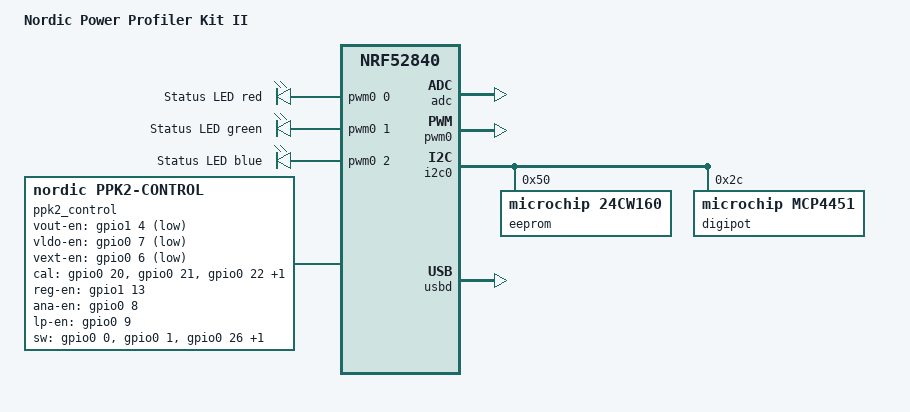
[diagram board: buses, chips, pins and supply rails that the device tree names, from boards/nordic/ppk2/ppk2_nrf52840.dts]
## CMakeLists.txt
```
# SPDX-License-Identifier: Apache-2.0

cmake_minimum_required(VERSION 3.20.0)

# The ppk2 board definition lives in this tree, not in Zephyr's.
list(APPEND BOARD_ROOT ${CMAKE_CURRENT_SOURCE_DIR})

find_package(Zephyr REQUIRED HINTS $ENV{ZEPHYR_BASE})
project(ppk2_firmware)

target_sources(app PRIVATE
	src/main.c
	src/board_io.c
	src/digipot.c
	src/metadata.c
	src/sampling.c
	src/power.c
	src/usb_ppk.c
	src/dfu.c
	src/protocol.c
	src/leds.c
	src/shell_cmds.c
)
```

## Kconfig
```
# SPDX-License-Identifier: Apache-2.0

mainmenu "Power Profiler Kit II firmware"

menu "PPK2"

config PPK2_USB_VID
	hex "USB vendor ID"
	default 0x1915
	help
	  The desktop Power Profiler app only lists devices carrying Nordic's
	  vendor ID (nrf-device-lib's "nordicUsb" trait).

config PPK2_USB_PID
	hex "USB product ID"
	default 0xC00A
	help
	  The desktop app recognises a PPK2 by idProduct == 0xC00A.

config PPK2_USB_MANUFACTURER
	string "USB manufacturer string"
	default "Nordic Semiconductor"

config PPK2_USB_PRODUCT
	string "USB product string"
	default "PPK2"

config PPK2_DFU_SEMVER
	string "Version string served on the DFU trigger interface"
	default "power_profiler_kit_2 1.2.4-community"
	help
	  nrf-device-lib reads this string to decide whether the desktop app
	  should offer to reprogram the kit. The default matches the firmware
	  release the app bundles, so the app leaves this firmware alone.

config PPK2_FW_VERSION_MAJOR
	int "Firmware major version reported in DFU info"
	default 1

config PPK2_FW_VERSION_MINOR
	int "Firmware minor version reported in DFU info"
	default 2

config PPK2_DEFAULT_VDD_MV
	int "Source-mode output voltage used when the EEPROM holds none (mV)"
	range 800 5000
	default 3000

config PPK2_DISCARD_SWITCH_SAMPLES
	bool "Drop samples taken while the range switches are in transition"
	default y
	help
	  The analog front end reports an inconsistent switch pattern for a few
	  microseconds while it changes range. Such samples carry no usable
	  current reading; dropping them keeps the sample counter contiguous so
	  the desktop app never sees them.

config PPK2_SAMPLE_RING_SAMPLES
	int "Sample ring buffer depth (samples, power of two)"
	default 4096
	help
	  Eight 512-sample blocks by default: enough to ride out USB scheduling
	  jitter without dropping data. 16 KiB of RAM.

config PPK2_USB_TX_INFLIGHT
	int "Sample blocks queued to the USB controller at once"
	range 1 8
	default 4

config PPK2_STREAM_KEEPS_CPU_AWAKE
	bool "Skip WFI in the idle thread while the current stream runs"
	default y
	select ARM_ON_ENTER_CPU_IDLE_HOOK
	help
	  Waking the CPU from WFI takes about 12.5 us on this kit, longer than
	  the 10 us sample period, so an idle CPU services only every other
	  conversion. With this enabled the idle thread spins instead of
	  sleeping while sampling is active. The kit is USB powered and its own
	  consumption is not what it measures, so nothing is lost.

endmenu

source "Kconfig.zephyr"
```

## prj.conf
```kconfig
# Power Profiler Kit II firmware.
#
# The board supplies the LFCLK source, the bootloader-aware flash offset and
# the USB stack selection; this file asks for what the application uses.

CONFIG_LOG=y
CONFIG_LOG_DEFAULT_LEVEL=3

# Cortex-M4F: calibration maths and voltage conversion are floating point.
CONFIG_FPU=y

# The SAADC END handler runs as a zero-latency interrupt: it has 10 us to
# collect each result and must not wait behind irq_lock() sections in the USB
# driver. It makes no kernel calls; a TIMER3 compare interrupt signals blocks.
CONFIG_ZERO_LATENCY_IRQS=y

CONFIG_GPIO=y
CONFIG_I2C=y
CONFIG_EEPROM=y
CONFIG_PWM=y
CONFIG_LED=y
CONFIG_LED_PWM=y
CONFIG_HWINFO=y
CONFIG_REBOOT=y
CONFIG_CRC=y

# The metadata reply and the shell print floats with printf-style formatting.
CONFIG_PICOLIBC_IO_FLOAT=y
CONFIG_CBPRINTF_FP_SUPPORT=y

# USB: this application builds its own composite device (data port, shell
# port, DFU trigger), so the board's boot-time CDC ACM convenience must stay
# out of the way.
CONFIG_USB_DEVICE_STACK_NEXT=y
CONFIG_USBD_CDC_ACM_CLASS=y
CONFIG_CDC_ACM_SERIAL_INITIALIZE_AT_BOOT=n
# Sample blocks are 2 KiB bulk transfers; several are in flight at once.
CONFIG_UDC_BUF_POOL_SIZE=16384
CONFIG_UDC_BUF_COUNT=32

CONFIG_SERIAL=y
CONFIG_CONSOLE=y
CONFIG_UART_CONSOLE=y
CONFIG_UART_LINE_CTRL=y
CONFIG_SHELL=y
CONFIG_SHELL_BACKEND_SERIAL=y
CONFIG_SHELL_BACKEND_SERIAL_CHECK_DTR=y
CONFIG_SHELL_PROMPT_UART="ppk2:~$ "

CONFIG_MAIN_STACK_SIZE=4096
CONFIG_SYSTEM_WORKQUEUE_STACK_SIZE=2048
CONFIG_HEAP_MEM_POOL_SIZE=8192
```

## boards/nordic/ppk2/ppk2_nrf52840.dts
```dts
/*
 * Nordic Power Profiler Kit II (PCA63100 rev 1.0.1).
 *
 * Every connection below is taken from the Altium netlist export in ref/
 * (netlist.NET), which lists each net as explicit component pads.
 *
 * SPDX-License-Identifier: Apache-2.0
 */

/dts-v1/;
#include <nordic/nrf52840_qiaa.dtsi>
#include <nordic/nrf52840_partition.dtsi>
#include "ppk2_nrf52840-pinctrl.dtsi"

/ {
	model = "Nordic Power Profiler Kit II";
	compatible = "nordic,ppk2";

	chosen {
		zephyr,sram = &sram0;
		zephyr,flash = &flash0;
	};

	pwmleds: pwmleds {
		compatible = "pwm-leds";

		/* LD3 and LD4 are common-anode to P3V3 and sit in parallel on
		 * the same three nets, so each channel drives both LEDs.
		 *
		 * Normal polarity despite the common anode: the pin does not
		 * reach the LED directly but gates an N-channel MOSFET (Q1/Q15,
		 * DMN2050LFDB) whose source is grounded and which sinks the
		 * cathode side, so a high level turns the LED on. R99-R101 pull
		 * the gates down, keeping the LEDs dark while the pins float
		 * during reset.
		 */
		led_red: pwm_led_0 {
			pwms = <&pwm0 0 PWM_MSEC(4) PWM_POLARITY_NORMAL>;
			label = "Status LED red";
		};

		led_green: pwm_led_1 {
			pwms = <&pwm0 1 PWM_MSEC(4) PWM_POLARITY_NORMAL>;
			label = "Status LED green";
		};

		led_blue: pwm_led_2 {
			pwms = <&pwm0 2 PWM_MSEC(4) PWM_POLARITY_NORMAL>;
			label = "Status LED blue";
		};
	};

	ppk2_control: ppk2-control {
		compatible = "nordic,ppk2-control";

		/* The three power switches (Q2, Q14, Q16) are N-channel high-side
		 * pairs whose gates R37/R104/R105 pull up to the +8 V rail: they
		 * conduct when left alone. The MCU pin drives Q1/Q17, which pull
		 * that gate to ground and open the switch. So the pin is active
		 * LOW for "connected", and the 1 MOhm pull-ups to 3V3 (R39, R106,
		 * R107) keep everything disconnected through reset. Confirmed on
		 * hardware: with this pin driven high, VDUT+ read 26 mV while the
		 * LDO behind it sat at 2.8 V.
		 */
		vout-en-gpios = <&gpio1 4 GPIO_ACTIVE_LOW>;
		vldo-en-gpios = <&gpio0 7 GPIO_ACTIVE_LOW>;
		vext-en-gpios = <&gpio0 6 GPIO_ACTIVE_LOW>;

		/* The calibration loads are a single N-channel stage (Q4, Q11)
		 * straight across the terminals, pulled down by 1 MOhm: active
		 * high, off at reset.
		 */
		cal-gpios = <&gpio0 20 GPIO_ACTIVE_HIGH>,	/* 100 kOhm, R40 */
			    <&gpio0 21 GPIO_ACTIVE_HIGH>,	/*  10 kOhm, R58 */
			    <&gpio0 22 GPIO_ACTIVE_HIGH>,	/*   1 kOhm, R33 */
			    <&gpio0 23 GPIO_ACTIVE_HIGH>;	/* 100  Ohm, R38 */

		/* Regulator and analog-supply enables go straight to the ICs. */
		reg-en-gpios = <&gpio1 13 GPIO_ACTIVE_HIGH>;
		ana-en-gpios = <&gpio0 8 GPIO_ACTIVE_HIGH>;
		lp-en-gpios = <&gpio0 9 GPIO_ACTIVE_HIGH>;

		/* SW1..SW4 are pulled up by R43/R47/R51/R55 and pulled low by
		 * Q6/Q8 while a shunt is in circuit, so a high level means that
		 * shunt is bypassed. The MCU can only observe them.
		 */
		sw-gpios = <&gpio0 0 GPIO_ACTIVE_HIGH>,
			   <&gpio0 1 GPIO_ACTIVE_HIGH>,
			   <&gpio0 26 GPIO_ACTIVE_HIGH>,
			   <&gpio0 27 GPIO_ACTIVE_HIGH>;

		lp-data-gpios = <&gpio0 10 GPIO_ACTIVE_HIGH>,
				<&gpio0 11 GPIO_ACTIVE_HIGH>,
				<&gpio0 12 GPIO_ACTIVE_HIGH>,
				<&gpio0 13 GPIO_ACTIVE_HIGH>,
				<&gpio0 14 GPIO_ACTIVE_HIGH>,
				<&gpio0 15 GPIO_ACTIVE_HIGH>,
				<&gpio0 16 GPIO_ACTIVE_HIGH>,
				<&gpio0 17 GPIO_ACTIVE_HIGH>;

		ext-usb-gpios = <&gpio1 9 GPIO_ACTIVE_HIGH>;
	};

	aliases {
		led0 = &led_red;
		led1 = &led_green;
		led2 = &led_blue;
		eeprom-0 = &eeprom;
		watchdog0 = &wdt0;
	};
};

&uicr {
	/* P0.09 and P0.10 carry LP_EN and LP_D0 of the logic-port header, so
	 * the NFCT pins have to come up as plain GPIOs.
	 */
	nfct-pins-as-gpios;
	gpio-as-nreset;
};

&gpiote {
	status = "okay";
};

&gpio0 {
	status = "okay";
	/* P0.18 is nRESET and P0.19 sits on the same RESET net, which is how
	 * firmware reboots the kit into the bootloader. Neither is free.
	 */
	gpio-reserved-ranges = <18 2>;
	gpio-line-names =
		"SW1_ONOFF", "SW2_ONOFF", "VREF_IA/AIN0", "VLDO/AIN1",
		"VBB/AIN2", "VIN/AIN3", "VEXT_EN", "VLDO_EN",
		"ANA_EN", "LP_EN", "LP_D0", "LP_D1",
		"LP_D2", "LP_D3", "LP_D4", "LP_D5",
		"LP_D6", "LP_D7", "RESET", "RESET_TRIGGER",
		"CAL100K", "CAL10K", "CAL1K", "CAL100",
		"SDA", "SCL", "SW3_ONOFF", "SW4_ONOFF",
		"VDUT/AIN4", "AGND/AIN5", "NTC/AIN6", "VSE_IA/AIN7";
};

&gpio1 {
	status = "okay";
	gpio-line-names =
		"SWO", "", "", "",
		"VOUT_EN", "LEDR", "LEDG", "LEDB",
		"", "EXT_USB", "", "",
		"", "REG_EN", "", "";
};

/* The eight measurement inputs all land on SAADC: AIN0 VREF_IA, AIN1 VLDO,
 * AIN2 VBB, AIN3 VIN, AIN4 VDUT, AIN5 AGND, AIN6 NTC, AIN7 VSE_IA. The
 * application drives the SAADC directly for the 100 kHz stream, so no Zephyr
 * ADC driver instance is bound to this node.
 */
&adc {
	status = "okay";
};

&pwm0 {
	status = "okay";
	pinctrl-0 = <&pwm0_default>;
	pinctrl-1 = <&pwm0_sleep>;
	pinctrl-names = "default", "sleep";
};

&i2c0 {
	compatible = "nordic,nrf-twim";
	status = "okay";
	pinctrl-0 = <&i2c0_default>;
	pinctrl-1 = <&i2c0_sleep>;
	pinctrl-names = "default", "sleep";

	/* U7, a 24CW160: 16 kbit, and where the kit keeps its calibration
	 * data. Its write-protect pin is strapped low through R83.
	 */
	eeprom: eeprom@50 {
		compatible = "microchip,24cw160", "atmel,at24";
		reg = <0x50>;
		size = <2048>;
		pagesize = <32>;
		address-width = <16>;
		timeout = <5>;
	};

	/* U10, MCP4451 100 kOhm. Wiper 0 sets the buck-boost feedback,
	 * wiper 1 the LDO feedback, wiper 3 the instrumentation-amplifier
	 * offset; wiper 2 only reaches a test point.
	 */
	digipot: mcp4451@2c {
		compatible = "microchip,mcp4451";
		reg = <0x2c>;
	};
};

zephyr_udc0: &usbd {
	compatible = "nordic,nrf-usbd";
	status = "okay";
};

/* Routes console, shell and logging onto a USB CDC ACM instance. Must come
 * after the zephyr_udc0 label above, which it attaches the CDC ACM node to.
 * The application registers this instance as the second serial port; the
 * first carries the PPK2 protocol.
 */
#include <../boards/common/usb/cdc_acm_serial.dtsi>
```

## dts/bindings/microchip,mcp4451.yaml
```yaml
# SPDX-License-Identifier: Apache-2.0

description: |
  Microchip MCP4451 quad 8-bit (257 tap) volatile digital potentiometer with
  an I2C interface. Wipers are written with a two-byte command:
  (memory address << 4) | D8, then D7..D0.

compatible: "microchip,mcp4451"

include: i2c-device.yaml
```

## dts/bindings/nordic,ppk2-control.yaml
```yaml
# SPDX-License-Identifier: Apache-2.0

description: |
  Control and status lines between the nRF52840 and the Power Profiler
  Kit II analog front end, supplies and logic-port level translator.

compatible: "nordic,ppk2-control"

include: base.yaml

properties:
  vout-en-gpios:
    type: phandle-array
    required: true
    description: Connects VDUT- to the VOUT terminal (DUT power on).

  vldo-en-gpios:
    type: phandle-array
    required: true
    description: Connects the ADP1708 LDO output to VDUT+ (source-meter mode).

  vext-en-gpios:
    type: phandle-array
    required: true
    description: Connects the VIN terminal to VDUT+ (ampere-meter mode).

  reg-en-gpios:
    type: phandle-array
    required: true
    description: Enables the ADP2504 buck-boost and ADP1708 LDO.

  ana-en-gpios:
    type: phandle-array
    required: true
    description: Enables the ADP5072 +7 V / -2 V analog supply.

  lp-en-gpios:
    type: phandle-array
    required: true
    description: Output enable of the FXMA108 logic-port level translator.

  cal-gpios:
    type: phandle-array
    required: true
    description: |
      Calibration loads switched across VDUT+/VDUT-, in the order
      100 kOhm, 10 kOhm, 1 kOhm, 100 Ohm.

  sw-gpios:
    type: phandle-array
    required: true
    description: |
      Range-switch status inputs SW1..SW4. The comparators on the current
      measurement sheet drive these; a high level means that shunt is
      bypassed. All four must sit on GPIO port 0.

  lp-data-gpios:
    type: phandle-array
    required: true
    description: Logic-port inputs D0..D7, contiguous on GPIO port 0.

  ext-usb-gpios:
    type: phandle-array
    required: true
    description: Divided-down VBUS of the auxiliary USB connector J1.
```

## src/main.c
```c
/*
 * Firmware for the Nordic Power Profiler Kit II (PCA63100).
 *
 * SPDX-License-Identifier: Apache-2.0
 */

#include <zephyr/kernel.h>
#include <zephyr/logging/log.h>

#include "board_io.h"
#include "leds.h"
#include "metadata.h"
#include "power.h"
#include "protocol.h"
#include "sampling.h"
#include "usb_ppk.h"

LOG_MODULE_REGISTER(ppk2, CONFIG_LOG_DEFAULT_LEVEL);

int main(void)
{
	int ret;

	LOG_INF("Power Profiler Kit II on %s", CONFIG_BOARD_TARGET);

	/* Order matters: the supply path must be safe before anything that
	 * could power the terminals, and the SAADC must be ready before the
	 * regulators are tuned.
	 */
	ret = board_io_init();
	if (ret < 0) {
		LOG_ERR("board_io_init: %d", ret);
		return 0;
	}

	metadata_init();
	sampling_init();

	ret = power_init();
	if (ret < 0) {
		LOG_WRN("power_init: %d", ret);
	}

	protocol_init();

	ret = usb_ppk_init();
	if (ret < 0) {
		LOG_ERR("usb_ppk_init: %d", ret);
	}

	leds_init();

	LOG_INF("ready: %s mode, %u mV, %s",
		power_mode() == 2 ? "source" : "ampere", power_vdd(),
		metadata_is_calibrated() ? "calibrated" : "uncalibrated");

	return 0;
}
```

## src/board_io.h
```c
/*
 * Control and status lines of the PPK2 front end.
 *
 * SPDX-License-Identifier: Apache-2.0
 */

#ifndef BOARD_IO_H_
#define BOARD_IO_H_

#include <stdbool.h>
#include <stdint.h>

enum board_ctrl {
	BOARD_CTRL_VOUT_EN,
	BOARD_CTRL_VLDO_EN,
	BOARD_CTRL_VEXT_EN,
	BOARD_CTRL_REG_EN,
	BOARD_CTRL_ANA_EN,
	BOARD_CTRL_LP_EN,
	BOARD_CTRL_COUNT,
};

enum board_cal_load {
	BOARD_CAL_OFF = -1,
	BOARD_CAL_100K = 0,
	BOARD_CAL_10K,
	BOARD_CAL_1K,
	BOARD_CAL_100,
	BOARD_CAL_COUNT,
};

/* Bit positions in GPIO port 0 used by the sampling interrupt. */
#define BOARD_P0_SW_MASK	(BIT(0) | BIT(1) | BIT(26) | BIT(27))
#define BOARD_P0_LOGIC_SHIFT	10U
#define BOARD_P1_EXT_USB_PIN	9U

int board_io_init(void);

int board_io_set(enum board_ctrl line, bool on);
bool board_io_get(enum board_ctrl line);

/* Switches one calibration load across VDUT+/VDUT-, or none. */
int board_io_set_cal_load(enum board_cal_load load);

/* Current range as the front end reports it: 0..4, or PPK2_RANGE_SWITCHING. */
uint8_t board_io_read_range(void);

/* Decodes the four SW status bits (SW1 in bit 0) into a range. */
uint8_t board_io_decode_range(uint32_t sw_bits);

bool board_io_ext_usb_present(void);

#endif /* BOARD_IO_H_ */
```

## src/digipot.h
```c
/*
 * MCP4451 quad digital potentiometer (U10).
 *
 * SPDX-License-Identifier: Apache-2.0
 */

#ifndef DIGIPOT_H_
#define DIGIPOT_H_

#include <stdint.h>

/* Wiper assignments follow the POT0..POT3 nets on the schematic. */
enum digipot_wiper {
	DIGIPOT_VBB = 0,	/* W0: ADP2504 buck-boost feedback, via R112 */
	DIGIPOT_VLDO = 1,	/* W1: ADP1708 LDO feedback, via R14 */
	DIGIPOT_UNUSED = 2,	/* W2: test point only */
	DIGIPOT_IA_OFFSET = 3,	/* W3: instrumentation amplifier offset */
};

#define DIGIPOT_CODE_MAX 256U

int digipot_init(void);
int digipot_set(enum digipot_wiper wiper, uint16_t code);
uint16_t digipot_get(enum digipot_wiper wiper);

#endif /* DIGIPOT_H_ */
```

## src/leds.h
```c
/*
 * Status LED patterns.
 *
 * SPDX-License-Identifier: Apache-2.0
 */

#ifndef LEDS_H_
#define LEDS_H_

int leds_init(void);

#endif /* LEDS_H_ */
```

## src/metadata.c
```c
/*
 * Calibration metadata stored in the on-board EEPROM (U7).
 *
 * The EEPROM is the one copy of this unit's factory calibration, so writes
 * are field-wise, to offsets confirmed against the stock layout, and only
 * for values this firmware actually changes. Everything else in the stock
 * image is read and left alone.
 *
 * SPDX-License-Identifier: Apache-2.0
 */

#include <ctype.h>
#include <math.h>
#include <stdio.h>
#include <stdlib.h>
#include <string.h>

#include <zephyr/kernel.h>
#include <zephyr/device.h>
#include <zephyr/drivers/eeprom.h>
#include <zephyr/sys/byteorder.h>
#include <zephyr/sys/crc.h>
#include <zephyr/logging/log.h>

#include <nrfx.h>

#include "metadata.h"

LOG_MODULE_REGISTER(metadata, CONFIG_LOG_DEFAULT_LEVEL);

/*
 * Our own backup lives clear of both stock regions: its primary image ends at
 * 0x100 and its backup copy (with a trailing CRC) occupies 0x600..0x702.
 */
#define BACKUP_OFFSET		0x200
#define BACKUP_MAGIC		0x324B5050	/* "PPK2" */
#define SAVE_DEBOUNCE		K_SECONDS(2)

#define IA_DEFAULT		128
#define IA_MAX			256

/*
 * Stock masks the range-0 gain terms when it reports them, whatever the
 * EEPROM holds (a real unit stored GS0 = -1138.7, GI0 = 1.03 and reported
 * 1e-19 and 1.0). The epsilon rather than zero matters: the desktop app
 * substitutes its own default of 1.0 for any value that parses as zero.
 */
#define REPORTED_GS0		1e-19f
#define REPORTED_GI0		1.0f

struct backup_image {
	uint32_t magic;
	struct ppk2_metadata meta;
	uint32_t crc;
} __packed;

static const struct device *const eeprom = DEVICE_DT_GET(DT_ALIAS(eeprom_0));

static struct ppk2_metadata meta;
/* What the EEPROM holds for the fields we own, so saves touch only changes. */
static struct ppk2_metadata stored;
static bool calibrated;
static bool ia_unknown;
static K_MUTEX_DEFINE(lock);

/*
 * Mirrors the desktop app's own fallbacks, which it substitutes for any key
 * that parses as zero. Sending anything else for an uncalibrated kit would
 * therefore be overridden anyway.
 */
static const struct ppk2_metadata defaults = {
	.r = { 1031.64f, 101.65f, 10.15f, 0.94f, 0.043f },
	.gs = { 1.0f, 1.0f, 1.0f, 1.0f, 1.0f },
	.gi = { 1.0f, 1.0f, 1.0f, 1.0f, 1.0f },
	.ug = { 1.0f, 1.0f, 1.0f, 1.0f, 1.0f },
	.vdd = CONFIG_PPK2_DEFAULT_VDD_MV,
	.mode = PPK2_MODE_AMPERE,
	.calibrated = 0,
	.ia = IA_DEFAULT,
};

static uint16_t derived_hw(void)
{
	/* Stock reports the low 16 bits of DEVICEID[0] as a decimal integer;
	 * a real unit confirmed the field and its width.
	 */
	return (uint16_t)(NRF_FICR->DEVICEID[0] & 0xFFFFU);
}

static bool all_finite(const float *v, size_t n)
{
	for (size_t k = 0; k < n; k++) {
		if (!isfinite(v[k])) {
			return false;
		}
	}

	return true;
}

static bool resistances_plausible(const float *r)
{
	for (size_t k = 0; k < PPK2_RANGE_COUNT; k++) {
		if (!isfinite(r[k]) || r[k] <= 0.001f || r[k] > 100000.0f) {
			return false;
		}
	}

	return true;
}

static void decode_image(const uint8_t *img, struct ppk2_metadata *m)
{
	memcpy(m->r, &img[EEPROM_OFF_R], sizeof(m->r));
	memcpy(m->gs, &img[EEPROM_OFF_GS], sizeof(m->gs));
	memcpy(m->o, &img[EEPROM_OFF_O], sizeof(m->o));
	memcpy(m->s, &img[EEPROM_OFF_S], sizeof(m->s));
	memcpy(m->i, &img[EEPROM_OFF_I], sizeof(m->i));
	memcpy(m->gi, &img[EEPROM_OFF_GI], sizeof(m->gi));
	memcpy(m->ug, &img[EEPROM_OFF_UG], sizeof(m->ug));
	m->vdd = sys_get_le16(&img[EEPROM_OFF_VDD]);
	m->mode = img[EEPROM_OFF_MODE];
	m->calibrated = img[EEPROM_OFF_CALIBRATED];
	m->ia = sys_get_le16(&img[EEPROM_OFF_IA]);
	m->hw = derived_hw();
}

static void sanitize(struct ppk2_metadata *m)
{
	if (!all_finite(m->gs, PPK2_RANGE_COUNT)) {
		memcpy(m->gs, defaults.gs, sizeof(m->gs));
	}
	if (!all_finite(m->gi, PPK2_RANGE_COUNT)) {
		memcpy(m->gi, defaults.gi, sizeof(m->gi));
	}
	if (!all_finite(m->o, PPK2_RANGE_COUNT)) {
		memset(m->o, 0, sizeof(m->o));
	}
	if (!all_finite(m->s, PPK2_RANGE_COUNT)) {
		memset(m->s, 0, sizeof(m->s));
	}
	if (!all_finite(m->i, PPK2_RANGE_COUNT)) {
		memset(m->i, 0, sizeof(m->i));
	}
	if (!all_finite(m->ug, PPK2_RANGE_COUNT)) {
		memcpy(m->ug, defaults.ug, sizeof(m->ug));
	}
	for (size_t k = 0; k < PPK2_RANGE_COUNT; k++) {
		if (m->ug[k] <= 0.0f || m->ug[k] > 10.0f) {
			m->ug[k] = 1.0f;
		}
	}

	if (m->vdd < 800 || m->vdd > 5000) {
		m->vdd = CONFIG_PPK2_DEFAULT_VDD_MV;
	}
	if (m->mode != PPK2_MODE_AMPERE && m->mode != PPK2_MODE_SOURCE) {
		m->mode = PPK2_MODE_AMPERE;
	}
	if (m->calibrated > 1) {
		m->calibrated = 0;
	}

	/* Fresh EEPROM reads 0xFFFF here, and the one real unit seen so far
	 * held a value far beyond the wiper's range in its stock backup.
	 */
	ia_unknown = m->ia > IA_MAX;
	if (ia_unknown) {
		LOG_WRN("no usable IA wiper value in EEPROM (%u), will trim", m->ia);
		m->ia = IA_DEFAULT;
	}
}

void metadata_load_defaults(void)
{
	k_mutex_lock(&lock, K_FOREVER);
	meta = defaults;
	meta.hw = derived_hw();
	calibrated = false;
	ia_unknown = true;
	k_mutex_unlock(&lock);
}

int metadata_init(void)
{
	uint8_t img[EEPROM_STOCK_IMAGE_SIZE];
	int ret;

	if (!device_is_ready(eeprom)) {
		LOG_ERR("EEPROM not ready");
		metadata_load_defaults();
		return -ENODEV;
	}

	ret = eeprom_read(eeprom, 0, img, sizeof(img));
	if (ret < 0) {
		LOG_ERR("EEPROM read failed: %d", ret);
		metadata_load_defaults();
		return ret;
	}

	k_mutex_lock(&lock, K_FOREVER);
	decode_image(img, &meta);
	stored = meta;

	if (resistances_plausible(meta.r)) {
		calibrated = true;
		sanitize(&meta);
		LOG_INF("calibration loaded: R0=%.2f R4=%.4f vdd=%u mode=%u ia=%u flag=%u",
			(double)meta.r[0], (double)meta.r[4], meta.vdd, meta.mode, meta.ia,
			meta.calibrated);
	} else {
		LOG_WRN("EEPROM holds no usable calibration, using defaults");
		meta = defaults;
		meta.hw = derived_hw();
		calibrated = false;
		ia_unknown = true;
	}
	k_mutex_unlock(&lock);

	return 0;
}

struct ppk2_metadata *metadata_get(void)
{
	return &meta;
}

bool metadata_is_calibrated(void)
{
	return calibrated;
}

bool metadata_ia_unknown(void)
{
	return ia_unknown;
}

static int write_if_changed(size_t offset, const void *now, void *was, size_t len)
{
	if (memcmp(now, was, len) == 0) {
		return 0;
	}

	int ret = eeprom_write(eeprom, offset, now, len);

	if (ret == 0) {
		memcpy(was, now, len);
	} else {
		LOG_ERR("EEPROM write at %u failed: %d", (unsigned int)offset, ret);
	}

	return ret;
}

int metadata_save(void)
{
	struct ppk2_metadata m;
	uint8_t le16[2];
	int ret;

	if (!device_is_ready(eeprom)) {
		return -ENODEV;
	}

	k_mutex_lock(&lock, K_FOREVER);
	m = meta;

	sys_put_le16(m.vdd, le16);
	ret = write_if_changed(EEPROM_OFF_VDD, le16, &stored.vdd, sizeof(le16));
	stored.vdd = m.vdd;

	if (ret == 0) {
		ret = write_if_changed(EEPROM_OFF_UG, m.ug, stored.ug, sizeof(m.ug));
	}
	if (ret == 0) {
		ret = write_if_changed(EEPROM_OFF_MODE, &m.mode, &stored.mode, sizeof(m.mode));
	}
	if (ret == 0) {
		sys_put_le16(m.ia, le16);
		ret = write_if_changed(EEPROM_OFF_IA, le16, &stored.ia, sizeof(le16));
		stored.ia = m.ia;
	}
	k_mutex_unlock(&lock);

	return ret;
}

static void save_work_handler(struct k_work *work)
{
	ARG_UNUSED(work);
	metadata_save();
}

static K_WORK_DELAYABLE_DEFINE(save_work, save_work_handler);

void metadata_save_deferred(void)
{
	k_work_reschedule(&save_work, SAVE_DEBOUNCE);
}

int metadata_backup_write(void)
{
	struct backup_image img;

	if (!device_is_ready(eeprom)) {
		return -ENODEV;
	}

	k_mutex_lock(&lock, K_FOREVER);
	img.magic = BACKUP_MAGIC;
	img.meta = meta;
	k_mutex_unlock(&lock);
	img.crc = crc32_ieee((const uint8_t *)&img.meta, sizeof(img.meta));

	return eeprom_write(eeprom, BACKUP_OFFSET, &img, sizeof(img));
}

static int backup_read(struct backup_image *img)
{
	int ret;

	if (!device_is_ready(eeprom)) {
		return -ENODEV;
	}

	ret = eeprom_read(eeprom, BACKUP_OFFSET, img, sizeof(*img));
	if (ret < 0) {
		return ret;
	}

	if (img->magic != BACKUP_MAGIC ||
	    img->crc != crc32_ieee((const uint8_t *)&img->meta, sizeof(img->meta))) {
		return -EBADMSG;
	}

	return 0;
}

int metadata_backup_valid(void)
{
	struct backup_image img;

	return backup_read(&img);
}

/*
 * Restores only what this firmware owns. The factory constants are not
 * rewritten from our backup: if they were lost, stock's own backup copy at
 * 0x600 is the authoritative source, not ours.
 */
int metadata_backup_restore(void)
{
	struct backup_image img;
	int ret = backup_read(&img);

	if (ret < 0) {
		return ret;
	}

	k_mutex_lock(&lock, K_FOREVER);
	memcpy(meta.ug, img.meta.ug, sizeof(meta.ug));
	meta.vdd = img.meta.vdd;
	meta.mode = img.meta.mode;
	meta.ia = img.meta.ia;
	k_mutex_unlock(&lock);

	return metadata_save();
}

/*
 * The desktop app lower-cases this text, turns every "key: value" line into a
 * JSON member and parses the result, so the values must be plain numbers:
 * never NaN or infinity.
 */
size_t metadata_format(char *buf, size_t size)
{
	struct ppk2_metadata m;
	size_t pos = 0;

	k_mutex_lock(&lock, K_FOREVER);
	m = meta;
	k_mutex_unlock(&lock);

	m.gs[0] = REPORTED_GS0;
	m.gi[0] = REPORTED_GI0;

#define PUT(...)								\
	do {									\
		int n_ = snprintf(buf + pos, size - pos, __VA_ARGS__);		\
		if (n_ < 0 || (size_t)n_ >= size - pos) {			\
			return 0;						\
		}								\
		pos += (size_t)n_;						\
	} while (0)

	PUT("Calibrated: %u\n", m.calibrated);
	for (int k = 0; k < PPK2_RANGE_COUNT; k++) {
		PUT("R%d: %.20f\n", k, (double)m.r[k]);
	}
	for (int k = 0; k < PPK2_RANGE_COUNT; k++) {
		PUT("GS%d: %.20f\n", k, (double)m.gs[k]);
	}
	for (int k = 0; k < PPK2_RANGE_COUNT; k++) {
		PUT("GI%d: %.20f\n", k, (double)m.gi[k]);
	}
	for (int k = 0; k < PPK2_RANGE_COUNT; k++) {
		PUT("O%d: %.20f\n", k, (double)m.o[k]);
	}
	PUT("VDD: %u\n", m.vdd);
	PUT("HW: %u\n", m.hw);
	PUT("mode: %u\n", m.mode);
	for (int k = 0; k < PPK2_RANGE_COUNT; k++) {
		PUT("S%d: %.20f\n", k, (double)m.s[k]);
	}
	for (int k = 0; k < PPK2_RANGE_COUNT; k++) {
		PUT("I%d: %.20f\n", k, (double)m.i[k]);
	}
	for (int k = 0; k < PPK2_RANGE_COUNT; k++) {
		PUT("UG%d: %.20f\n", k, (double)m.ug[k]);
	}
	PUT("IA: %u\n", m.ia);
	PUT("END\n");
#undef PUT

	return pos;
}

static float *float_array(struct ppk2_metadata *m, const char *name)
{
	if (strcmp(name, "r") == 0) {
		return m->r;
	}
	if (strcmp(name, "gs") == 0) {
		return m->gs;
	}
	if (strcmp(name, "gi") == 0) {
		return m->gi;
	}
	if (strcmp(name, "o") == 0) {
		return m->o;
	}
	if (strcmp(name, "s") == 0) {
		return m->s;
	}
	if (strcmp(name, "i") == 0) {
		return m->i;
	}
	if (strcmp(name, "ug") == 0) {
		return m->ug;
	}

	return NULL;
}

/*
 * Edits the in-RAM copy only. Factory constants (r, gs, gi, o, s, i) can be
 * edited here for experiments but are never persisted by metadata_save().
 */
int metadata_set(const char *key, const char *value)
{
	char name[8];
	size_t n = 0;
	int ret = 0;

	while (key[n] != '\0' && !isdigit((unsigned char)key[n]) && n < sizeof(name) - 1) {
		name[n] = (char)tolower((unsigned char)key[n]);
		n++;
	}
	name[n] = '\0';

	k_mutex_lock(&lock, K_FOREVER);

	if (key[n] != '\0') {
		float *arr = float_array(&meta, name);
		int idx = atoi(&key[n]);

		if (arr == NULL || idx < 0 || idx >= PPK2_RANGE_COUNT) {
			ret = -EINVAL;
		} else {
			float v = strtof(value, NULL);

			if (!isfinite(v)) {
				ret = -EINVAL;
			} else {
				arr[idx] = v;
				if (arr == meta.r) {
					calibrated = resistances_plausible(meta.r);
				}
			}
		}
	} else if (strcmp(name, "vdd") == 0) {
		meta.vdd = (uint16_t)strtoul(value, NULL, 0);
	} else if (strcmp(name, "mode") == 0) {
		meta.mode = (uint8_t)strtoul(value, NULL, 0);
	} else if (strcmp(name, "ia") == 0) {
		meta.ia = (uint16_t)strtoul(value, NULL, 0);
		ia_unknown = false;
	} else {
		ret = -EINVAL;
	}

	k_mutex_unlock(&lock);

	return ret;
}

int metadata_raw_read(size_t offset, uint8_t *buf, size_t len)
{
	if (!device_is_ready(eeprom)) {
		return -ENODEV;
	}

	return eeprom_read(eeprom, offset, buf, len);
}
```

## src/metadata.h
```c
/*
 * Calibration metadata stored in the on-board EEPROM (U7).
 *
 * SPDX-License-Identifier: Apache-2.0
 */

#ifndef METADATA_H_
#define METADATA_H_

#include <stdbool.h>
#include <stddef.h>
#include <stdint.h>

#include "ppk2.h"

/*
 * Byte offsets in the EEPROM, as the stock firmware lays them out. Confirmed
 * against a real unit by diffing its primary image against its stock backup
 * copy, whose VDD, mode and IA the stock firmware reported differently (see
 * calibration/README.md). HW is not stored: stock derives it from the SoC's
 * device ID. Bytes not named here belong to stock and are never written.
 */
#define EEPROM_OFF_R		0	/* float[5] */
#define EEPROM_OFF_GS		20	/* float[5] */
#define EEPROM_OFF_O		40	/* float[5] */
#define EEPROM_OFF_S		60	/* float[5] */
#define EEPROM_OFF_I		80	/* float[5] */
#define EEPROM_OFF_GI		100	/* float[5] */
#define EEPROM_OFF_VDD		120	/* uint16, mV */
#define EEPROM_OFF_UG		128	/* float[5] */
#define EEPROM_OFF_MODE		251	/* uint8 */
#define EEPROM_OFF_CALIBRATED	252	/* uint8; stock's flag, read but never written */
#define EEPROM_OFF_IA		255	/* uint16, unaligned */
#define EEPROM_STOCK_IMAGE_SIZE	257

/* In-RAM view. Not a byte image of the EEPROM; see the offsets above. */
struct ppk2_metadata {
	float r[PPK2_RANGE_COUNT];	/* shunt resistance per range, ohm */
	float gs[PPK2_RANGE_COUNT];	/* gain, quadratic term */
	float o[PPK2_RANGE_COUNT];	/* zero-current ADC reading */
	float s[PPK2_RANGE_COUNT];	/* supply-voltage dependent offset */
	float i[PPK2_RANGE_COUNT];	/* constant offset */
	float gi[PPK2_RANGE_COUNT];	/* gain, linear term */
	float ug[PPK2_RANGE_COUNT];	/* user gains */
	uint16_t vdd;			/* source-mode setpoint, mV */
	uint16_t hw;			/* low 16 bits of the device ID, as stock reports */
	uint8_t mode;			/* enum ppk2_mode */
	uint8_t calibrated;		/* stock's stored flag, informational */
	uint16_t ia;			/* instrumentation amplifier offset wiper */
};

#define METADATA_TEXT_SIZE 1600

int metadata_init(void);

struct ppk2_metadata *metadata_get(void);

/* The stored shunt values are usable, whatever stock's flag byte says. */
bool metadata_is_calibrated(void);

/* True when the IA wiper value had to be invented rather than read. */
bool metadata_ia_unknown(void);

/* Writes the fields this firmware owns (vdd, ug, mode, ia), only if changed. */
int metadata_save(void);
void metadata_save_deferred(void);
void metadata_load_defaults(void);

int metadata_backup_write(void);
int metadata_backup_restore(void);
int metadata_backup_valid(void);

/* Formats the reply to GetMetadata, terminated by "END\n". */
size_t metadata_format(char *buf, size_t size);

/* Sets one field from its text name ("r0", "gs3", "vdd", "mode", ...). */
int metadata_set(const char *key, const char *value);

int metadata_raw_read(size_t offset, uint8_t *buf, size_t len);

#endif /* METADATA_H_ */
```

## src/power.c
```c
/*
 * Supply path: ampere-meter vs source-meter mode, output voltage, DUT power.
 *
 * Source mode feeds the DUT from the ADP1708 LDO, itself fed by the ADP2504
 * buck-boost. Both regulators take their feedback through wipers of the
 * MCP4451, so the output voltage is set by walking the wiper while reading
 * the regulator output back through the SAADC. That readback needs the SAADC,
 * which the sample stream owns while it runs; a voltage change requested
 * mid-stream is applied from the last learned slope and refined once the
 * stream stops.
 *
 * SPDX-License-Identifier: Apache-2.0
 */

#include <math.h>
#include <stdlib.h>

#include <zephyr/kernel.h>
#include <zephyr/logging/log.h>

#include "board_io.h"
#include "digipot.h"
#include "metadata.h"
#include "power.h"
#include "sampling.h"

LOG_MODULE_REGISTER(power, CONFIG_LOG_DEFAULT_LEVEL);

/* Headroom the LDO needs above its output, and the buck-boost's own range. */
#define BB_HEADROOM_MV		500
#define BB_MIN_MV		2500
#define BB_MAX_MV		5500

#define TUNE_TOLERANCE_MV	8.0f
#define TUNE_MAX_STEPS		24
#define TUNE_MAX_STRIDE		32

/* Wiper codes the stock firmware programs at power-up. */
#define LDO_DEFAULT_CODE	143
#define BB_DEFAULT_CODE		102

struct regulator {
	enum digipot_wiper wiper;
	enum sampling_channel monitor;
	uint16_t code;
	float measured_mv;
	/* mV per wiper step. Positive: a higher code raises the output. Seen on
	 * hardware: the buck-boost bottoms out near 2.8 V at code 3, and the
	 * stock defaults of 102/143 sit around 3.5 V.
	 */
	float slope;
	bool measured;
	uint32_t settle_ms;
};

static struct regulator ldo = {
	.wiper = DIGIPOT_VLDO,
	.monitor = SAMPLING_CH_VLDO,
	.code = LDO_DEFAULT_CODE,
	.slope = 16.0f,
	.settle_ms = 4,
};

static struct regulator bb = {
	.wiper = DIGIPOT_VBB,
	.monitor = SAMPLING_CH_VBB,
	.code = BB_DEFAULT_CODE,
	.slope = 12.0f,
	.settle_ms = 8,
};

/* An LDO asked for more than its input can give just follows the input, and
 * then no wiper step changes the reading. Treat "within this of the supply"
 * as dropout and walk down without waiting for a slope estimate.
 */
#define DROPOUT_MARGIN_MV	80.0f

static uint8_t mode = PPK2_MODE_AMPERE;
static uint16_t vdd_mv = CONFIG_PPK2_DEFAULT_VDD_MV;
static bool output_on;
static bool retune_pending;
static uint16_t ia_code;
static K_MUTEX_DEFINE(lock);

static uint16_t clamp_code(int32_t code)
{
	return (uint16_t)CLAMP(code, 0, (int32_t)DIGIPOT_CODE_MAX);
}

static int regulator_write(struct regulator *reg, uint16_t code)
{
	int ret = digipot_set(reg->wiper, code);

	if (ret == 0) {
		reg->code = code;
	}

	return ret;
}

#define SETTLE_STABLE_MV	6.0f
#define SETTLE_MAX_READS	12

/*
 * Reads the monitor until two consecutive readings agree. With no load the
 * regulator output caps only drain through the feedback dividers, hundreds
 * of kOhm, so a downward step can take far longer than any fixed delay; a
 * stale reading here is what previously walked the tuner off an end stop.
 */
static int regulator_measure(struct regulator *reg)
{
	float prev = 0.0f;
	float mv = 0.0f;
	int ret;

	for (int n = 0; n < SETTLE_MAX_READS; n++) {
		ret = sampling_measure_mv(reg->monitor, &mv);
		if (ret < 0) {
			return ret;
		}
		if (n > 0 && fabsf(mv - prev) <= SETTLE_STABLE_MV) {
			break;
		}
		prev = mv;
		k_msleep(reg->settle_ms);
	}

	reg->measured_mv = mv;
	reg->measured = true;

	return 0;
}

/*
 * A defined load while tuning: the 1 kOhm calibration resistor runs from
 * VDUT- to ground, so with the LDO switched onto VDUT+ it draws a couple of
 * milliamps through the shunts and lets the output caps follow the wiper
 * within milliseconds. Only while the DUT output switch is open, so nothing
 * connected to the terminals sees it.
 */
static void tune_load(bool on)
{
	if (output_on) {
		return;
	}

	board_io_set_cal_load(on ? BOARD_CAL_1K : BOARD_CAL_OFF);
	if (on) {
		k_msleep(2);
	}
}

/*
 * Walks the wiper towards target, re-estimating the local slope from each
 * pair of readings. Steps are bounded so a DUT already connected sees a ramp
 * rather than a jump.
 */
static int regulator_tune(struct regulator *reg, float target_mv, float supply_mv)
{
	int ret;

	ret = regulator_measure(reg);
	if (ret < 0) {
		return ret;
	}

	for (int step = 0; step < TUNE_MAX_STEPS; step++) {
		float err = target_mv - reg->measured_mv;

		if (fabsf(err) <= TUNE_TOLERANCE_MV) {
			return 0;
		}

		int32_t delta;
		bool in_dropout = supply_mv > 0.0f &&
				  reg->measured_mv > supply_mv - DROPOUT_MARGIN_MV &&
				  err < 0.0f;

		if (in_dropout) {
			delta = -TUNE_MAX_STRIDE;
		} else {
			delta = (int32_t)lroundf(err / reg->slope);
			delta = CLAMP(delta, -TUNE_MAX_STRIDE, TUNE_MAX_STRIDE);
			if (delta == 0) {
				delta = (err / reg->slope) > 0 ? 1 : -1;
			}
		}

		uint16_t next = clamp_code((int32_t)reg->code + delta);

		if (next == reg->code) {
			/* Pinned at an end stop: the target is out of reach. */
			return -ERANGE;
		}

		uint16_t prev_code = reg->code;
		float prev_mv = reg->measured_mv;

		ret = regulator_write(reg, next);
		if (ret < 0) {
			return ret;
		}
		k_msleep(reg->settle_ms);

		ret = regulator_measure(reg);
		if (ret < 0) {
			return ret;
		}

		float dmv = reg->measured_mv - prev_mv;
		int32_t dcode = (int32_t)reg->code - (int32_t)prev_code;

		/* Only believe a slope estimate the noise cannot have made up. */
		if (dcode != 0 && fabsf(dmv) > 2.0f) {
			float slope = dmv / (float)dcode;

			if (fabsf(slope) >= 0.5f && fabsf(slope) <= 200.0f) {
				reg->slope = 0.5f * reg->slope + 0.5f * slope;
			}
		}
	}

	return -ETIMEDOUT;
}

/* Open-loop step from the last known point, for use while the SAADC is busy. */
static int regulator_predict(struct regulator *reg, float target_mv)
{
	if (!reg->measured) {
		return -ENODATA;
	}

	int32_t delta = (int32_t)lroundf((target_mv - reg->measured_mv) / reg->slope);
	uint16_t next = clamp_code((int32_t)reg->code + delta);
	int ret = regulator_write(reg, next);

	if (ret == 0) {
		/* Assume we landed; the retune after the stream corrects it. */
		reg->measured_mv = target_mv;
	}

	return ret;
}

static float bb_target_for(uint16_t vdd)
{
	return (float)CLAMP((int)vdd + BB_HEADROOM_MV, BB_MIN_MV, BB_MAX_MV);
}

static int apply_vdd(bool can_measure)
{
	float ldo_target = (float)vdd_mv;
	float bb_target = bb_target_for(vdd_mv);
	int ret;

	if (!can_measure) {
		retune_pending = true;
		regulator_predict(&bb, bb_target);
		return regulator_predict(&ldo, ldo_target);
	}

	/* Raise the pre-regulator first, lower it last, so the LDO never runs
	 * out of headroom on the way. The LDO has to be switched onto VDUT+ for
	 * the tuning load to reach it.
	 */
	bool raising = !ldo.measured || ldo_target > ldo.measured_mv;
	bool ldo_was_connected = board_io_get(BOARD_CTRL_VLDO_EN);

	board_io_set(BOARD_CTRL_VLDO_EN, true);
	tune_load(true);

	if (raising) {
		ret = regulator_tune(&bb, bb_target, 0.0f);
		if (ret == 0 || ret == -ERANGE) {
			ret = regulator_tune(&ldo, ldo_target, bb.measured_mv);
		}
	} else {
		ret = regulator_tune(&ldo, ldo_target, bb.measured ? bb.measured_mv : 0.0f);
		if (ret == 0 || ret == -ERANGE) {
			ret = regulator_tune(&bb, bb_target, 0.0f);
		}
	}

	tune_load(false);

	/* The LDO's load regulation lifts the output once the tuning load is
	 * gone (about 20 mV at 2.3 V on a real kit, more than a wiper step), so
	 * the final check is made at the load the DUT will actually see.
	 */
	if (ret == 0) {
		ret = regulator_tune(&ldo, ldo_target, bb.measured_mv);
	}
	board_io_set(BOARD_CTRL_VLDO_EN, ldo_was_connected);

	retune_pending = false;

	if (ret == -ERANGE) {
		LOG_WRN("setpoint %u mV out of reach (LDO %d mV at code %u)",
			vdd_mv, (int)ldo.measured_mv, ldo.code);
	}

	return ret;
}

static void enter_ampere(void)
{
	board_io_set(BOARD_CTRL_VLDO_EN, false);
	board_io_set(BOARD_CTRL_REG_EN, false);
	k_msleep(5);
	board_io_set(BOARD_CTRL_VEXT_EN, true);
}

static int enter_source(void)
{
	board_io_set(BOARD_CTRL_VEXT_EN, false);
	board_io_set(BOARD_CTRL_REG_EN, true);
	regulator_write(&bb, bb.code);
	regulator_write(&ldo, ldo.code);
	k_msleep(20);

	/* apply_vdd() connects the LDO itself for the duration of the tune and
	 * restores this state afterwards, so set it before, not after.
	 */
	board_io_set(BOARD_CTRL_VLDO_EN, true);

	return apply_vdd(!sampling_running());
}

/*
 * The instrumentation amplifier's zero-current pedestal is what the factory
 * `O0` constant encodes: the raw code range 0 reads with nothing flowing. It
 * moves with temperature and with what the terminals have been doing (54 to
 * 68 counts across an afternoon at one wiper code, 3.6 counts per step), and
 * every range sees the shift at its own gain, so a stale trim is 0.1 uA at
 * range 0 and 11 uA at range 3. It is therefore re-trimmed whenever current
 * is known to be zero and the analog section is warm: just before the DUT
 * output is switched on in source mode. The boot trim is only a first guess.
 * Automatic trims stay in RAM; the EEPROM `IA` field is only written by an
 * explicit shell request.
 */
#define BOOT_TRIM_DELAY		K_MSEC(1500)
#define IA_TRIM_START		24

static int32_t pedestal_target(void)
{
	return metadata_is_calibrated() ? (int32_t)lroundf(metadata_get()->o[0]) : 100;
}

static void trim_pedestal(const char *when)
{
	uint16_t code;

	if (sampling_running() || output_on) {
		return;
	}
	if (power_trim_ia(pedestal_target(), &code) == 0) {
		LOG_INF("IA pedestal trimmed at %s: wiper %u", when, code);
	}
}

static void boot_trim_handler(struct k_work *work)
{
	ARG_UNUSED(work);
	trim_pedestal("boot");
}

static K_WORK_DELAYABLE_DEFINE(boot_trim_work, boot_trim_handler);

int power_init(void)
{
	struct ppk2_metadata *m = metadata_get();
	int ret;

	ret = digipot_init();
	if (ret < 0) {
		return ret;
	}

	vdd_mv = CLAMP(m->vdd, POWER_VDD_MIN_MV, POWER_VDD_MAX_MV);

	k_mutex_lock(&lock, K_FOREVER);
	ia_code = metadata_ia_unknown() ? IA_TRIM_START : m->ia;
	digipot_set(DIGIPOT_IA_OFFSET, ia_code);

	/* The kit remembers its mode, but never powers the DUT on its own. */
	output_on = false;
	board_io_set(BOARD_CTRL_VOUT_EN, false);
	k_work_schedule(&boot_trim_work, BOOT_TRIM_DELAY);

	mode = m->mode == PPK2_MODE_SOURCE ? PPK2_MODE_SOURCE : PPK2_MODE_AMPERE;
	if (mode == PPK2_MODE_SOURCE) {
		ret = enter_source();
	} else {
		enter_ampere();
		ret = 0;
	}
	k_mutex_unlock(&lock);

	return ret;
}

int power_set_mode(uint8_t new_mode)
{
	int ret = 0;

	if (new_mode != PPK2_MODE_AMPERE && new_mode != PPK2_MODE_SOURCE) {
		return -EINVAL;
	}

	k_mutex_lock(&lock, K_FOREVER);
	if (new_mode != mode) {
		mode = new_mode;
		if (mode == PPK2_MODE_SOURCE) {
			ret = enter_source();
		} else {
			enter_ampere();
		}

		metadata_get()->mode = mode;
		metadata_save_deferred();
	}
	k_mutex_unlock(&lock);

	return ret;
}

int power_set_vdd(uint16_t mv)
{
	int ret = 0;

	mv = CLAMP(mv, POWER_VDD_MIN_MV, POWER_VDD_MAX_MV);

	k_mutex_lock(&lock, K_FOREVER);
	vdd_mv = mv;
	if (mode == PPK2_MODE_SOURCE) {
		ret = apply_vdd(!sampling_running());
	}

	metadata_get()->vdd = vdd_mv;
	metadata_save_deferred();
	k_mutex_unlock(&lock);

	return ret;
}

int power_set_output(bool on)
{
	k_mutex_lock(&lock, K_FOREVER);
	if (on && !output_on && mode == PPK2_MODE_SOURCE) {
		trim_pedestal("output enable");
	}
	output_on = on;
	int ret = board_io_set(BOARD_CTRL_VOUT_EN, on);

	k_mutex_unlock(&lock);

	return ret;
}

uint8_t power_mode(void)
{
	return mode;
}

uint16_t power_vdd(void)
{
	return vdd_mv;
}

bool power_output(void)
{
	return output_on;
}

void power_on_stream_stopped(void)
{
	k_mutex_lock(&lock, K_FOREVER);
	if (retune_pending && mode == PPK2_MODE_SOURCE) {
		apply_vdd(true);
	}
	k_mutex_unlock(&lock);
}

int power_set_ia_code(uint16_t code)
{
	int ret = digipot_set(DIGIPOT_IA_OFFSET, code);

	if (ret == 0) {
		ia_code = code;
	}

	return ret;
}

/* 48 oversampled conversions average the 7-count sample noise to about one
 * count, and keep a trim to a few hundred milliseconds so it can run in
 * front of an output-enable request.
 */
#define IA_TRIM_SAMPLES		48

int power_trim_ia(int32_t target_raw, uint16_t *code_out)
{
	int32_t raw;
	int ret;
	float slope = 4.0f;	/* counts per wiper step, sign learned below */
	uint16_t code = ia_code;

	for (int step = 0; step < 40; step++) {
		ret = sampling_measure_raw(SAMPLING_CH_VSE_IA, IA_TRIM_SAMPLES, &raw);
		if (ret < 0) {
			return ret;
		}

		int32_t err = target_raw - raw;

		if (abs(err) <= 2) {
			break;
		}

		int32_t delta = (int32_t)lroundf((float)err / slope);

		delta = CLAMP(delta, -16, 16);
		if (delta == 0) {
			delta = err > 0 ? 1 : -1;
		}

		uint16_t next = clamp_code((int32_t)code + delta);

		if (next == code) {
			return -ERANGE;
		}

		ret = digipot_set(DIGIPOT_IA_OFFSET, next);
		if (ret < 0) {
			return ret;
		}
		k_msleep(3);

		int32_t raw_after;

		ret = sampling_measure_raw(SAMPLING_CH_VSE_IA, IA_TRIM_SAMPLES, &raw_after);
		if (ret < 0) {
			return ret;
		}

		int32_t dcode = (int32_t)next - (int32_t)code;

		if (abs(raw_after - raw) >= 2) {
			float s = (float)(raw_after - raw) / (float)dcode;

			if (fabsf(s) >= 0.25f && fabsf(s) <= 400.0f) {
				slope = s;
			}
		}
		code = next;
	}

	ia_code = code;
	*code_out = code;

	return 0;
}

int power_get_status(struct power_status *st, bool measure)
{
	int ret = 0;

	k_mutex_lock(&lock, K_FOREVER);
	st->mode = mode;
	st->vdd_mv = vdd_mv;
	st->output_on = output_on;
	st->retune_pending = retune_pending;
	st->ia_code = ia_code;
	st->ldo_code = ldo.code;
	st->bb_code = bb.code;
	st->ext_usb = board_io_ext_usb_present();
	st->vldo_mv = st->vbb_mv = st->vin_mv = st->vdut_mv = NAN;

	if (measure) {
		ret = sampling_measure_mv(SAMPLING_CH_VLDO, &st->vldo_mv);
		if (ret == 0) {
			ret = sampling_measure_mv(SAMPLING_CH_VBB, &st->vbb_mv);
		}
		if (ret == 0) {
			ret = sampling_measure_mv(SAMPLING_CH_VIN, &st->vin_mv);
		}
		if (ret == 0) {
			ret = sampling_measure_mv(SAMPLING_CH_VDUT, &st->vdut_mv);
		}
	}
	k_mutex_unlock(&lock);

	return ret;
}
```

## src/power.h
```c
/*
 * Supply path: ampere-meter vs source-meter mode, output voltage, DUT power.
 *
 * SPDX-License-Identifier: Apache-2.0
 */

#ifndef POWER_H_
#define POWER_H_

#include <stdbool.h>
#include <stdint.h>

#define POWER_VDD_MIN_MV	800
#define POWER_VDD_MAX_MV	5000

struct power_status {
	uint8_t mode;
	uint16_t vdd_mv;
	bool output_on;
	bool retune_pending;
	uint16_t ia_code;
	uint16_t ldo_code;
	uint16_t bb_code;
	float vldo_mv;
	float vbb_mv;
	float vin_mv;
	float vdut_mv;
	bool ext_usb;
};

int power_init(void);

int power_set_mode(uint8_t mode);
int power_set_vdd(uint16_t mv);
int power_set_output(bool on);

uint8_t power_mode(void);
uint16_t power_vdd(void);
bool power_output(void);

/* To be called when the sample stream stops: finishes deferred regulator work. */
void power_on_stream_stopped(void);

int power_set_ia_code(uint16_t code);
/* Adjusts the IA offset wiper until the zero-current reading hits target. */
int power_trim_ia(int32_t target_raw, uint16_t *code_out);

/* With measure set, also reads the voltage monitors (stream must be stopped). */
int power_get_status(struct power_status *st, bool measure);

#endif /* POWER_H_ */
```

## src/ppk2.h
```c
/*
 * Definitions shared across the PPK2 firmware.
 *
 * The wire format here is dictated by the desktop Power Profiler app
 * (pc-nrfconnect-ppk, src/device/serialDevice.ts) and must not change.
 *
 * SPDX-License-Identifier: Apache-2.0
 */

#ifndef PPK2_H_
#define PPK2_H_

#include <stdint.h>

#define PPK2_SAMPLE_RATE_HZ	100000U
#define PPK2_BLOCK_SAMPLES	512U
#define PPK2_RANGE_COUNT	5U

/* Reported in the range field while the switches are between two ranges. */
#define PPK2_RANGE_SWITCHING	7U

/*
 * One sample as streamed to the host, little-endian:
 *
 *   bits  0..13  ADC value. The 14-bit differential SAADC result shifted
 *                right by two, clamped at zero. The app multiplies it back
 *                by four, so the calibration constants in the EEPROM are in
 *                raw 14-bit counts.
 *   bits 14..16  measurement range 0..4, or 7 while switching.
 *   bit  17      auxiliary USB connector (J1) VBUS present.
 *   bits 18..23  six-bit sample counter, contiguous over emitted samples.
 *   bits 24..31  logic port D0..D7.
 */
#define PPK2_SAMPLE_ADC_MASK	0x3FFFU
#define PPK2_SAMPLE_RANGE_POS	14U
#define PPK2_SAMPLE_EXT_USB_POS	17U
#define PPK2_SAMPLE_COUNTER_POS	18U
#define PPK2_SAMPLE_COUNTER_MASK 0x3FU
#define PPK2_SAMPLE_LOGIC_POS	24U

enum ppk2_mode {
	PPK2_MODE_AMPERE = 1,
	PPK2_MODE_SOURCE = 2,
};

/* Commands the host may send on the data port, one opcode byte each. */
enum ppk2_cmd {
	PPK2_CMD_TRIGGER_SET		= 0x01,
	PPK2_CMD_AVG_NUM_SET		= 0x02,
	PPK2_CMD_TRIGGER_WINDOW_SET	= 0x03,
	PPK2_CMD_TRIGGER_INTERVAL_SET	= 0x04,
	PPK2_CMD_TRIGGER_SINGLE_SET	= 0x05,
	PPK2_CMD_AVERAGE_START		= 0x06,
	PPK2_CMD_AVERAGE_STOP		= 0x07,
	PPK2_CMD_RANGE_SET		= 0x08,
	PPK2_CMD_LCD_SET		= 0x09,
	PPK2_CMD_TRIGGER_STOP		= 0x0A,
	PPK2_CMD_DEVICE_RUNNING_SET	= 0x0C,
	PPK2_CMD_REGULATOR_SET		= 0x0D,
	PPK2_CMD_SWITCH_POINT_DOWN	= 0x0E,
	PPK2_CMD_SWITCH_POINT_UP	= 0x0F,
	PPK2_CMD_SET_POWER_MODE		= 0x11,
	PPK2_CMD_RES_USER_SET		= 0x12,
	PPK2_CMD_SPIKE_FILTERING_ON	= 0x15,
	PPK2_CMD_SPIKE_FILTERING_OFF	= 0x16,
	PPK2_CMD_GET_METADATA		= 0x19,
	PPK2_CMD_RESET			= 0x20,
	PPK2_CMD_SET_USER_GAINS		= 0x25,
};

#endif /* PPK2_H_ */
```
